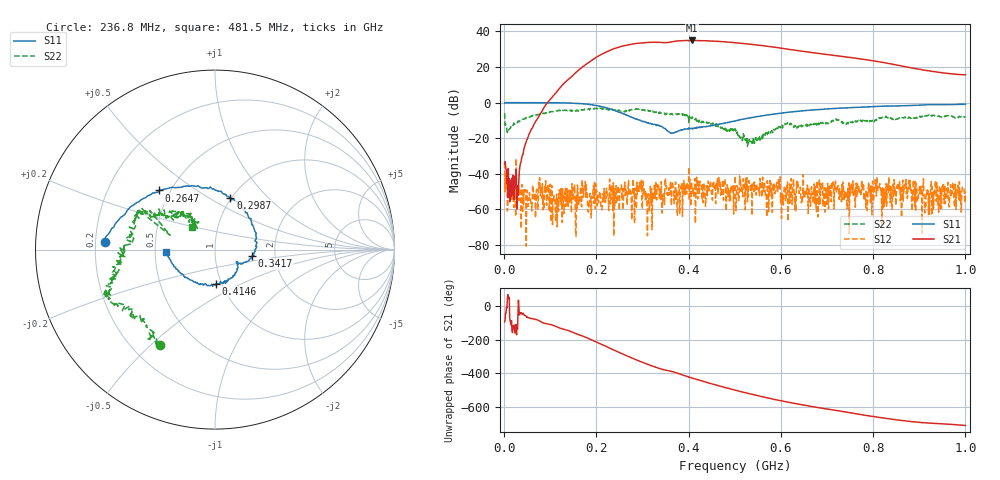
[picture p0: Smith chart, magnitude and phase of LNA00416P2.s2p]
! Created with skrf 1.9.0 (http://scikit-rf.org).
# Hz S RI R 50.0
!freq ReS11 ImS11 ReS21 ImS21 ReS12 ImS12 ReS22 ImS22
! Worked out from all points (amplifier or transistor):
!   1001 points, 1 MHz to 1 GHz, reference 50 ohm
!   highest |S21| = 35.0 dB at 406.6 MHz (marker M1)
!   |S21| within 3 dB of that: 259.8 MHz to 562.8 MHz (303 MHz wide, 73.7 % of centre)
!   unconditionally stable (mu >= 1): 236.9 MHz to 297.5 MHz; 301.1 MHz to 400.5 MHz; 400.6 MHz to end of sweep (the widest 3 of 37)
!   at 166.8 MHz: K = 0.46, MSG = 33.5 dB, |S12| = -47.6 dB
!   at 500.5 MHz: K = 1.32, MAG = 34.2 dB, |S12| = -41.3 dB
!   at 1 GHz: K = 4.07, MAG = 23.6 dB, |S12| = -49.7 dB
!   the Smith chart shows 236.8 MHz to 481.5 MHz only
!   S11 on the Smith chart (normalised r, x): 236.8 MHz: 0.24, +0.03; 264.7 MHz: 0.43, +0.36; 298.7 MHz: 0.99, +0.63; 341.7 MHz: 1.52, -0.11; 414.6 MHz: 0.94, -0.37; 481.5 MHz: 0.57, -0.01
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1000000  0.9667 -0.00606  -0.00156 -0.0187  -0.0149 0.0139  0.3983 0.3106
1.08892e8  0.5288 -0.8432  -0.7869 -1.492  -0.00116 -0.00211  0.4176 -0.3902
1.67833e8  -0.2204 -0.906  -9.631 -0.6071  0.000344 -0.00113  0.0396 -0.6325
2.07793e8  -0.6608 -0.4412  -15.65 14.92  -0.00167 0.00215  -0.2139 -0.6651
2.36764e8  -0.6149 0.0451  -5.217 31.87  0.0056 -0.000625  -0.3048 -0.5294
2.64736e8  -0.311 0.3297  17.57 37.14  -0.0024 0.00218  -0.4627 -0.3445
2.98702e8  0.0855 0.2899  42.95 20.67  0.00158 0.000112  -0.5877 -0.2186
3.17683e8  0.1996 0.1676  49.25 5.038  -0.0041 0.000995  -0.5706 -0.1261
3.34666e8  0.2332 0.0163  48.77 -9.145  -0.00306 0.00371  -0.5035 -0.0107
3.41659e8  0.2078 -0.0349  47.15 -13.79  -0.00111 0.00101  -0.5028 -0.00607
3.73627e8  0.1277 -0.0829  42.1 -33.68  -0.00189 0.00282  -0.4366 0.1848
4.06594e8  0.0466 -0.1863  20.53 -52.03  -0.00249 0.00522  -0.3127 0.2267
4.14586e8  0.00393 -0.1903  14.18 -53.85  0.000396 -7.97e-05  -0.293 0.1946
4.45555e8  -0.153 -0.1602  -9.542 -53.17  0.0036 0.00319  -0.1782 0.1818
4.81519e8  -0.2715 -0.0118  -31.04 -40.27  0.000898 -0.000138  -0.1286 0.1254
5.005e8  -0.2846 0.0942  -37.94 -30.5  0.000473 -0.00856  -0.1469 0.1128
5.4046e8  -0.236 0.3117  -41.91 -8.481  0.00498 0.00195  -0.1055 0.00812
5.85415e8  -0.0614 0.4756  -34.79 10.33  0.00223 -0.00524  -0.1693 -0.0536
6.67333e8  0.3231 0.5267  -12.93 21.81  0.00205 0.00221  -0.2488 0.023
7.53247e8  0.6262 0.3671  2.6 18.12  0.00183 -0.00444  -0.2637 0.0846
8.34166e8  0.7839 0.1374  8.482 9.25  -0.00759 -0.00261  -0.3479 0.1033
1e9  0.8035 -0.407  6.011 0.8091  -0.00326 0.000289  -0.1376 0.3707
